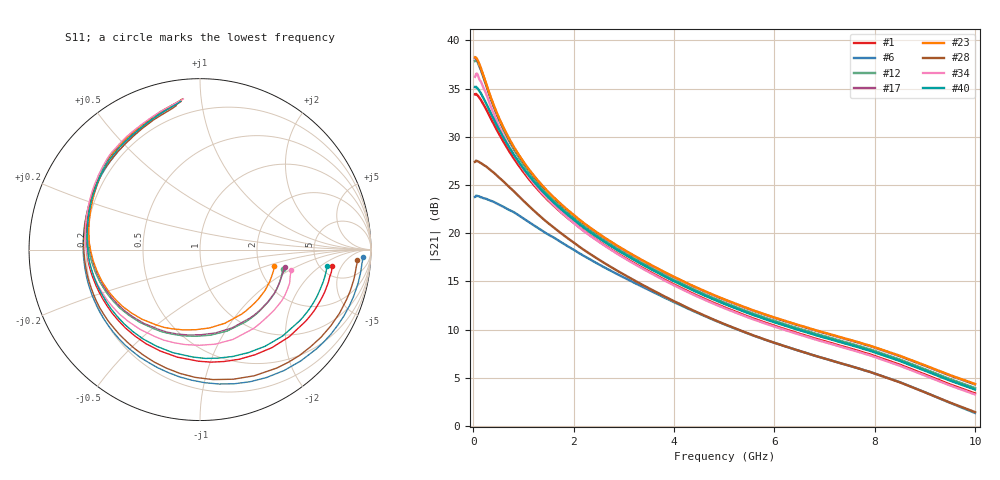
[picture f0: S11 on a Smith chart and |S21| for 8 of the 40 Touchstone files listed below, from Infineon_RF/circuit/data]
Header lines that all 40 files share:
! Infineon Technologies  Discrete & RF Semiconductors
! BFP760
! Common Emitter S-Parameters:  Nov 2012
# GHz  S  MA  R  50
!  f  S11  S21  S12  S22
! GHz  MAG  ANG  MAG  ANG  MAG  ANG  MAG  ANG
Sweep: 30 MHz to 10 GHz
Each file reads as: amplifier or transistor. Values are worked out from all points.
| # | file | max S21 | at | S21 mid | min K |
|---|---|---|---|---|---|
| 1 | BFP760_VCE_1.5V_IC_22mA.s2p | 34.5 dB | 50 MHz | 16.0 dB at 3.5 GHz | -0.07 |
| 2 | BFP760_VCE_1.5V_IC_28mA.s2p | 35.8 dB | 50 MHz | 16.1 dB at 3.5 GHz | -0.05 |
| 3 | BFP760_VCE_1.5V_IC_50mA.s2p | 35.2 dB | 70 MHz | 15.1 dB at 3.5 GHz | 0.22 |
| 4 | BFP760_VCE_1.5V_IC_60mA.s2p | 31.9 dB | 50 MHz | 10.3 dB at 3.5 GHz | 0.71 |
| 5 | BFP760_VCE_1.5V_IC_65mA.s2p | 29.0 dB | 50 MHz | 6.9 dB at 3.5 GHz | 1.00 |
| 6 | BFP760_VCE_2.0V_IC_5.0mA.s2p | 23.9 dB | 50 MHz | 14.1 dB at 3.5 GHz | -0.01 |
| 7 | BFP760_VCE_2.0V_IC_12mA.s2p | 30.5 dB | 50 MHz | 15.7 dB at 3.5 GHz | 0.01 |
| 8 | BFP760_VCE_2.0V_IC_22mA.s2p | 34.4 dB | 50 MHz | 16.3 dB at 3.5 GHz | -0.05 |
| 9 | BFP760_VCE_2.0V_IC_50mA.s2p | 37.2 dB | 60 MHz | 16.1 dB at 3.5 GHz | 0.04 |
| 10 | BFP760_VCE_2.0V_IC_65mA.s2p | 34.1 dB | 50 MHz | 12.9 dB at 3.5 GHz | 0.58 |
| 11 | BFP760_VCE_2.5V_IC_45mA.s2p | 37.8 dB | 50 MHz | 16.6 dB at 3.5 GHz | 0.00 |
| 12 | BFP760_VCE_2.5V_IC_50mA.s2p | 38.0 dB | 50 MHz | 16.5 dB at 3.5 GHz | 0.09 |
| 13 | BFP760_VCE_2.5V_IC_55mA.s2p | 37.8 dB | 50 MHz | 16.4 dB at 3.5 GHz | 0.14 |
| 14 | BFP760_VCE_2.5V_IC_70mA.s2p | 35.3 dB | 50 MHz | 14.0 dB at 3.5 GHz | 0.52 |
| 15 | BFP760_VCE_3.0V_IC_50mA.s2p | 38.2 dB | 50 MHz | 16.7 dB at 3.5 GHz | 0.08 |
| 16 | BFP760_VCE_3.5V_IC_45mA.s2p | 37.8 dB | 30 MHz | 16.8 dB at 3.5 GHz | 0.13 |
| 17 | BFP760_VCE_3.5V_IC_50mA.s2p | 38.1 dB | 30 MHz | 16.8 dB at 3.5 GHz | 0.13 |
| 18 | BFP760_VCE_3.5V_IC_55mA.s2p | 38.3 dB | 30 MHz | 16.7 dB at 3.5 GHz | 0.15 |
| 19 | BFP760_VCE_3.5V_IC_65mA.s2p | 38.2 dB | 50 MHz | 16.5 dB at 3.5 GHz | 0.20 |
| 20 | BFP760_VCE_3.5V_IC_70mA.s2p | 37.8 dB | 50 MHz | 16.2 dB at 3.5 GHz | 0.27 |
| 21 | BFP760_VCE_4.0V_IC_5.0mA.s2p | 23.9 dB | 50 MHz | 14.4 dB at 3.5 GHz | 0.02 |
| 22 | BFP760_VCE_4.0V_IC_50mA.s2p | 38.0 dB | 30 MHz | 16.9 dB at 3.5 GHz | 0.22 |
| 23 | BFP760_VCE_4.0V_IC_55mA.s2p | 38.3 dB | 30 MHz | 16.8 dB at 3.5 GHz | 0.24 |
| 24 | BFP760_VCE_4.0V_IC_65mA.s2p | 38.3 dB | 50 MHz | 16.6 dB at 3.5 GHz | 0.27 |
| 25 | BFP760_VCE_4.0V_IC_70mA.s2p | 38.1 dB | 50 MHz | 16.5 dB at 3.5 GHz | 0.32 |
| 26 | BFP760_w_noise_VCE_1.0V_IC_1.0mA.s2p | 11.5 dB | 120 MHz | 7.2 dB at 3.5 GHz | -0.04 |
| 27 | BFP760_w_noise_VCE_1.0V_IC_4.0mA.s2p | 22.3 dB | 50 MHz | 12.8 dB at 3.5 GHz | -0.08 |
| 28 | BFP760_w_noise_VCE_1.0V_IC_8.0mA.s2p | 27.5 dB | 50 MHz | 14.3 dB at 3.5 GHz | -0.05 |
| 29 | BFP760_w_noise_VCE_1.0V_IC_15mA.s2p | 32.0 dB | 50 MHz | 15.1 dB at 3.5 GHz | -0.07 |
| 30 | BFP760_w_noise_VCE_1.0V_IC_20mA.s2p | 33.8 dB | 50 MHz | 15.2 dB at 3.5 GHz | 0.02 |
| 31 | BFP760_w_noise_VCE_1.0V_IC_25mA.s2p | 34.8 dB | 70 MHz | 15.3 dB at 3.5 GHz | -0.04 |
| 32 | BFP760_w_noise_VCE_1.5V_IC_4.0mA.s2p | 22.1 dB | 50 MHz | 13.3 dB at 3.5 GHz | -0.11 |
| 33 | BFP760_w_noise_VCE_1.5V_IC_30mA.s2p | 36.1 dB | 50 MHz | 16.1 dB at 3.5 GHz | 0.05 |
| 34 | BFP760_w_noise_VCE_1.5V_IC_40mA.s2p | 36.6 dB | 70 MHz | 16.0 dB at 3.5 GHz | 0.10 |
| 35 | BFP760_w_noise_VCE_2.0V_IC_1.0mA.s2p | 11.5 dB | 120 MHz | 7.7 dB at 3.5 GHz | -0.06 |
| 36 | BFP760_w_noise_VCE_2.0V_IC_2.0mA.s2p | 16.9 dB | 100 MHz | 11.1 dB at 3.5 GHz | -0.07 |
| 37 | BFP760_w_noise_VCE_2.0V_IC_4.0mA.s2p | 22.3 dB | 50 MHz | 13.5 dB at 3.5 GHz | -0.07 |
| 38 | BFP760_w_noise_VCE_2.0V_IC_6.0mA.s2p | 25.3 dB | 50 MHz | 14.5 dB at 3.5 GHz | -0.01 |
| 39 | BFP760_w_noise_VCE_2.0V_IC_20mA.s2p | 33.9 dB | 50 MHz | 16.2 dB at 3.5 GHz | 0.00 |
| 40 | BFP760_w_noise_VCE_2.0V_IC_25mA.s2p | 35.2 dB | 50 MHz | 16.4 dB at 3.5 GHz | -0.04 |

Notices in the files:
2_Circuitos/VCO/Simulacion/modelos/Infineon_RF/circuit/data/BFP760_VCE_1.5V_IC_22mA.s2p:
(c) 2012  Infineon Technologies AG, Munich
